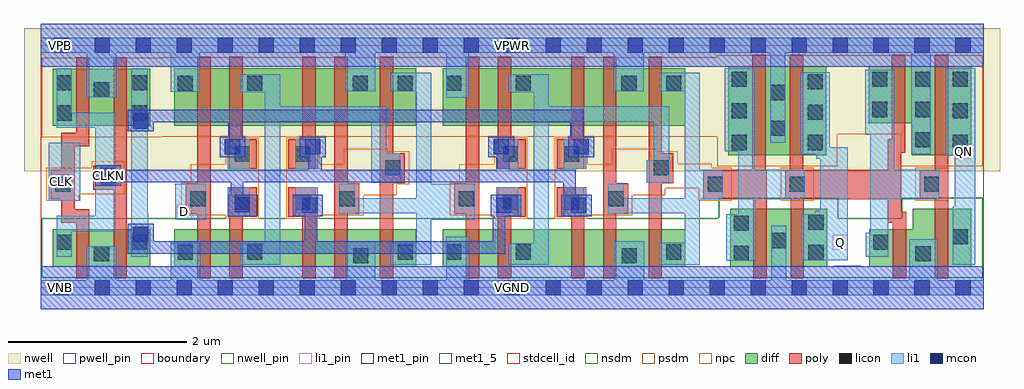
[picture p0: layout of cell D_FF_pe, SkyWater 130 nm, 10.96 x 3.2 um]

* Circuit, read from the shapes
.subckt D_FF_pe CLK CLKN D Q QN VGND VNB VPB VPWR
XM1 VGND CLK CLKN VNB sky130_fd_pr__nfet_01v8 w=0.42 l=0.15
XM2 n1 CLKN VGND VNB sky130_fd_pr__nfet_01v8 w=0.42 l=0.15
XM3 n2 D VGND VNB sky130_fd_pr__nfet_01v8 w=0.42 l=0.15
XM4 n3 CLKN n2 VNB sky130_fd_pr__nfet_01v8 w=0.42 l=0.15
XM5 n4 n1 n3 VNB sky130_fd_pr__nfet_01v8 w=0.42 l=0.15
XM6 VGND n5 n4 VNB sky130_fd_pr__nfet_01v8 w=0.42 l=0.15
XM7 n5 n3 VGND VNB sky130_fd_pr__nfet_01v8 w=0.42 l=0.15
XM8 n6 n5 VGND VNB sky130_fd_pr__nfet_01v8 w=0.42 l=0.15
XM9 n7 n1 n6 VNB sky130_fd_pr__nfet_01v8 w=0.42 l=0.15
XM10 n8 CLKN n7 VNB sky130_fd_pr__nfet_01v8 w=0.42 l=0.15
XM11 VGND n9 n8 VNB sky130_fd_pr__nfet_01v8 w=0.42 l=0.15
XM12 n9 n7 VGND VNB sky130_fd_pr__nfet_01v8 w=0.42 l=0.15
XM13 VGND n9 n10 VNB sky130_fd_pr__nfet_01v8 w=0.65 l=0.15
XM14 Q n10 VGND VNB sky130_fd_pr__nfet_01v8 w=0.65 l=0.15
XM15 VGND n10 n11 VNB sky130_fd_pr__nfet_01v8 w=0.42 l=0.15
XM16 QN n11 VGND VNB sky130_fd_pr__nfet_01v8 w=0.65 l=0.15
XM17 VPWR CLK CLKN VPB sky130_fd_pr__pfet_01v8 w=0.64 l=0.15
XM18 n1 CLKN VPWR VPB sky130_fd_pr__pfet_01v8 w=0.64 l=0.15
XM19 n12 D VPWR VPB sky130_fd_pr__pfet_01v8 w=0.64 l=0.15
XM20 n3 n1 n12 VPB sky130_fd_pr__pfet_01v8 w=0.64 l=0.15
XM21 n13 CLKN n3 VPB sky130_fd_pr__pfet_01v8 w=0.64 l=0.15
XM22 VPWR n5 n13 VPB sky130_fd_pr__pfet_01v8 w=0.64 l=0.15
XM23 n5 n3 VPWR VPB sky130_fd_pr__pfet_01v8 w=0.64 l=0.15
XM24 n14 n5 VPWR VPB sky130_fd_pr__pfet_01v8 w=0.64 l=0.15
XM25 n7 CLKN n14 VPB sky130_fd_pr__pfet_01v8 w=0.64 l=0.15
XM26 n15 n1 n7 VPB sky130_fd_pr__pfet_01v8 w=0.64 l=0.15
XM27 VPWR n9 n15 VPB sky130_fd_pr__pfet_01v8 w=0.64 l=0.15
XM28 n9 n7 VPWR VPB sky130_fd_pr__pfet_01v8 w=0.64 l=0.15
XM29 VPWR n9 n10 VPB sky130_fd_pr__pfet_01v8 w=1 l=0.15
XM30 Q n10 VPWR VPB sky130_fd_pr__pfet_01v8 w=1 l=0.15
XM31 VPWR n10 n11 VPB sky130_fd_pr__pfet_01v8 w=0.64 l=0.15
XM32 QN n11 VPWR VPB sky130_fd_pr__pfet_01v8 w=1 l=0.15
.ends

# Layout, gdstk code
import gdstk
lib = gdstk.Library(unit=1e-6, precision=1e-09)
def R(c, l, rs):  # rectangles x0, y0, x1, y1
    for r in rs: c.add(gdstk.rectangle(r[:2], r[2:], *l))
def A(c, l, x, y, w, h, nx, ny, dx, dy):  # array of equal rectangles
    R(c, l, [(x+i*dx, y+j*dy, x+i*dx+w, y+j*dy+h) for i in range(nx) for j in range(ny)])
nwell_pin = (64, 16)
nwell = (64, 20)
diff = (65, 20)
poly = (66, 20)
licon = (66, 44)
li1_pin = (67, 16)
li1 = (67, 20)
mcon = (67, 44)
met1_5 = (68, 5)
met1_pin = (68, 16)
met1 = (68, 20)
stdcell_id = (81, 4)
nsdm = (93, 44)
psdm = (94, 20)
npc = (95, 20)
pwell_pin = (122, 16)
boundary = (235, 4)

d_ff_pe = lib.new_cell('D_FF_pe')
R(d_ff_pe, nwell_pin, [(0.14,2.635,0.31,2.805)])
R(d_ff_pe, nwell, [(-0.19,1.305,10.765,2.91)])
R(d_ff_pe, diff, [(0.135,0.235,1.225,0.655), (1.495,0.235,4.215,0.655), (4.51,0.235,7.23,0.655), (7.735,0.235,8.825,0.885), (9.3,0.235,10.445,0.655), (9.785,0.655,10.445,0.885), (7.715,1.485,8.815,2.485), (9.775,1.485,10.445,1.845), (0.135,1.815,1.225,2.455), (1.495,1.82,4.215,2.46), (4.51,1.82,7.23,2.46), (9.29,1.845,10.445,2.485)])
R(d_ff_pe, poly, [(0.395,0.105,0.545,0.73), (0.815,0.105,0.965,1.1), (1.755,0.105,1.905,0.83), (2.115,0.105,2.265,0.795), (2.935,0.105,3.085,0.795), (3.295,0.105,3.445,0.83), (3.805,0.105,3.955,1.17), (4.77,0.105,4.92,0.83), (5.13,0.105,5.28,0.795), (5.95,0.105,6.1,0.795), (6.31,0.105,6.46,0.83), (6.82,0.105,6.97,1.17), (7.995,0.105,8.145,0.995), (8.415,0.105,8.565,0.995), (9.56,0.105,9.71,0.73), (10.035,0.105,10.185,0.995), (0.23,0.73,0.545,0.88), (9.505,0.73,9.71,0.85), (2.115,0.795,2.425,1.125), (2.775,0.795,3.085,1.125), (5.13,0.795,5.44,1.125), (5.79,0.795,6.1,1.125), (1.625,0.83,1.905,1.17), (3.295,0.83,3.575,1.17), (4.64,0.83,4.92,1.17), (6.31,0.83,6.59,1.17), (9.505,0.85,9.655,0.995), (0.23,0.88,0.38,0.995), (0.11,0.995,0.38,1.325), (7.435,0.995,8.145,1.325), (8.355,0.995,9.655,1.325), (9.865,0.995,10.185,1.325), (0.59,1.1,0.965,1.37), (1.755,1.17,1.905,2.59), (3.295,1.17,3.445,2.59), (3.805,1.17,4.085,1.51), (4.77,1.17,4.92,2.59), (6.31,1.17,6.46,2.59), (6.82,1.17,7.1,1.51), (0.23,1.325,0.38,1.59), (7.985,1.325,8.135,2.615), (8.405,1.325,8.555,2.615), (9.505,1.325,9.655,1.515), (10.035,1.325,10.185,2.615), (2.115,1.335,2.425,1.665), (2.775,1.335,3.085,1.665), (5.13,1.335,5.44,1.665), (5.79,1.335,6.1,1.665), (0.815,1.37,0.965,2.585), (3.805,1.51,3.955,2.59), (6.82,1.51,6.97,2.59), (9.505,1.515,9.7,1.665), (0.23,1.59,0.545,1.74), (2.115,1.665,2.265,2.59), (2.935,1.665,3.085,2.59), (5.13,1.665,5.28,2.59), (5.95,1.665,6.1,2.59), (9.55,1.665,9.7,2.615), (0.395,1.74,0.545,2.585)])
A(d_ff_pe, licon, 7.755, 1.545, 0.17, 0.17, 1, 3, 0, 0.355)
A(d_ff_pe, licon, 8.605, 1.545, 0.17, 0.17, 1, 3, 0, 0.34)
A(d_ff_pe, licon, 10.235, 1.545, 0.17, 0.17, 1, 3, 0, 0.355)
A(d_ff_pe, licon, 9.815, 1.575, 0.17, 0.17, 1, 3, 0, 0.34)
R(d_ff_pe, licon, [(3.505,0.275,3.675,0.445), (6.52,0.275,6.69,0.445), (0.595,0.295,0.765,0.465), (9.815,0.295,9.985,0.465), (7.775,0.3,7.945,0.47), (8.615,0.31,8.785,0.48), (1.535,0.315,1.705,0.485), (2.315,0.315,2.485,0.485), (4.005,0.315,4.175,0.485), (4.55,0.315,4.72,0.485), (5.33,0.315,5.5,0.485), (7.02,0.315,7.19,0.485), (0.175,0.425,0.345,0.595), (1.015,0.425,1.185,0.595), (9.34,0.425,9.51,0.595), (8.195,0.445,8.365,0.615), (10.235,0.485,10.405,0.655), (7.775,0.64,7.945,0.81), (8.615,0.65,8.785,0.82), (2.175,0.875,2.345,1.045), (2.855,0.875,3.025,1.045), (5.19,0.875,5.36,1.045), (5.87,0.875,6.04,1.045), (1.675,0.915,1.845,1.085), (3.355,0.915,3.525,1.085), (4.69,0.915,4.86,1.085), (6.37,0.915,6.54,1.085), (0.16,1.075,0.33,1.245), (7.485,1.075,7.655,1.245), (8.405,1.075,8.575,1.245), (9.915,1.075,10.085,1.245), (0.67,1.15,0.84,1.32), (3.865,1.26,4.035,1.43), (6.88,1.26,7.05,1.43), (2.175,1.415,2.345,1.585), (2.855,1.415,3.025,1.585), (5.19,1.415,5.36,1.585), (5.87,1.415,6.04,1.585), (8.185,1.705,8.355,1.875), (0.175,1.875,0.345,2.045), (1.015,1.875,1.185,2.045), (9.33,1.915,9.5,2.085), (8.185,2.105,8.355,2.275), (0.595,2.135,0.765,2.305), (1.535,2.21,1.705,2.38), (2.315,2.21,2.485,2.38), (3.5,2.21,3.67,2.38), (4.005,2.21,4.175,2.38), (4.55,2.21,4.72,2.38), (5.33,2.21,5.5,2.38), (6.515,2.21,6.685,2.38), (7.02,2.21,7.19,2.38), (0.175,2.215,0.345,2.385), (1.015,2.215,1.185,2.385), (9.33,2.255,9.5,2.425)])
R(d_ff_pe, li1_pin, [(8.885,0.425,9.055,0.595), (1.525,0.765,1.695,0.935), (0.145,1.105,0.315,1.275), (10.265,1.445,10.435,1.615)])
R(d_ff_pe, li1, [(0,-0.085,10.58,0.085), (0.515,0.085,0.845,0.465), (1.455,0.085,1.79,0.505), (3.42,0.085,3.755,0.52), (4.55,0.085,4.805,0.57), (6.435,0.085,6.77,0.52), (8.195,0.085,8.365,0.695), (9.745,0.085,10.065,0.545), (2.235,0.255,2.685,0.5), (3.925,0.255,4.38,0.505), (5.25,0.255,5.7,0.5), (6.94,0.255,7.395,0.505), (10.235,0.255,10.49,0.91), (7.695,0.3,8.025,0.825), (8.535,0.305,9.055,0.825), (0.175,0.345,0.345,0.635), (1.015,0.345,1.2,0.515), (9.26,0.345,9.51,0.615), (2.515,0.5,2.685,1.865), (5.53,0.5,5.7,1.865), (4.21,0.505,4.38,0.76), (7.225,0.505,7.395,0.835), (1.015,0.515,1.205,0.835), (9.31,0.615,9.51,0.995), (0.175,0.635,0.84,0.805), (1.51,0.76,1.855,1.165), (4.21,0.76,4.87,0.835), (2.095,0.795,2.345,1.125), (2.855,0.795,3.105,1.125), (5.11,0.795,5.36,1.125), (5.87,0.795,6.12,1.125), (0.61,0.805,0.84,1.795), (7.825,0.825,8.025,0.995), (8.69,0.825,9.055,0.865), (3.345,0.83,3.525,0.835), (6.36,0.83,6.54,0.835), (1.015,0.835,1.2,1.755), (3.345,0.835,4.87,1.005), (6.36,0.835,7.395,0.995), (8.745,0.865,9.055,1.445), (10.255,0.91,10.49,1.48), (0.09,0.975,0.44,1.625), (6.36,0.995,7.655,1.005), (7.825,0.995,8.575,1.325), (9.31,0.995,10.085,1.325), (3.345,1.005,3.525,1.165), (4.21,1.005,4.87,1.165), (6.36,1.005,6.54,1.165), (7.225,1.005,7.655,1.325), (4.21,1.165,4.38,2.205), (3.705,1.18,4.04,1.43), (6.8,1.18,7.055,1.43), (7.225,1.325,7.395,2.205), (7.825,1.325,8.015,1.53), (9.31,1.325,9.58,1.715), (2.095,1.335,2.345,1.495), (2.855,1.335,3.105,1.495), (5.11,1.335,5.36,1.495), (5.87,1.335,6.12,1.495), (3.705,1.43,4.035,1.51), (6.88,1.43,7.05,1.865), (8.7,1.445,9.055,1.495), (10.155,1.48,10.49,2.465), (2.065,1.495,2.345,1.665), (2.855,1.495,3.135,1.665), (5.08,1.495,5.36,1.665), (5.87,1.495,6.15,1.665), (8.525,1.495,9.055,1.575), (9.77,1.495,9.985,2.635), (3.705,1.51,3.875,1.865), (7.675,1.53,8.015,2.465), (8.525,1.575,8.855,2.42), (8.185,1.625,8.355,2.635), (9.25,1.715,9.58,2.445), (1.015,1.755,1.205,1.965), (0.175,1.795,0.84,1.965), (2.515,1.865,3.875,2.035), (5.53,1.865,7.05,2.035), (0.175,1.965,0.345,2.465), (1.015,1.965,1.2,2.465), (2.515,2.035,2.685,2.195), (5.53,2.035,5.7,2.195), (4.55,2.13,4.8,2.635), (0.515,2.135,0.845,2.635), (2.235,2.195,2.685,2.395), (5.25,2.195,5.7,2.395), (1.455,2.2,1.785,2.635), (3.415,2.205,3.75,2.635), (3.925,2.205,4.38,2.41), (6.43,2.205,6.765,2.635), (6.94,2.205,7.395,2.41), (0,2.635,10.58,2.805)])
A(d_ff_pe, mcon, 0.145, -0.085, 0.17, 0.17, 23, 2, 0.46, 2.72)
R(d_ff_pe, mcon, [(1.035,0.515,1.205,0.685), (2.935,0.84,3.105,1.01), (5.11,0.84,5.28,1.01), (5.95,0.84,6.12,1.01), (2.175,0.845,2.345,1.015), (0.67,1.175,0.84,1.345), (2.065,1.495,2.235,1.665), (2.965,1.495,3.135,1.665), (5.08,1.495,5.25,1.665), (5.98,1.495,6.15,1.665), (1.035,1.785,1.205,1.955)])
R(d_ff_pe, met1_5, [(0.67,1.175,0.84,1.345)])
R(d_ff_pe, met1_pin, [(0,-0.24,10.58,0.24), (0.145,-0.085,0.315,0.085), (0,2.48,10.58,2.96), (0.145,2.635,0.315,2.805)])
R(d_ff_pe, met1, [(0,-0.24,10.58,0.24), (8.9,0.24,9.2,0.245), (0.975,0.38,5.21,0.52), (0.975,0.52,1.265,0.72), (2.96,0.52,3.1,0.8), (5.07,0.52,5.21,0.8), (2.095,0.8,2.435,1.045), (2.825,0.8,3.165,1.045), (5.05,0.8,5.39,1.045), (5.84,0.8,6.18,1.045), (2.13,1.045,2.27,1.185), (5.865,1.045,6.005,1.185), (0.61,1.145,0.9,1.185), (0.61,1.185,6.005,1.325), (0.61,1.325,0.9,1.375), (3,1.325,3.15,1.465), (5.115,1.325,5.255,1.465), (2.005,1.465,2.295,1.695), (2.905,1.465,3.195,1.695), (5.02,1.465,5.31,1.695), (5.92,1.465,6.21,1.695), (2.1,1.695,2.25,1.855), (5.94,1.695,6.09,1.855), (0.975,1.755,1.265,1.855), (0.975,1.855,6.09,1.995), (0,2.48,10.58,2.96)])
R(d_ff_pe, stdcell_id, [(0,0,10.58,2.72)])
R(d_ff_pe, nsdm, [(0.01,0.11,10.57,0.78), (7.61,0.78,8.95,1.01), (9.66,0.78,10.57,1.01)])
R(d_ff_pe, psdm, [(7.59,1.36,8.94,1.695), (9.65,1.36,10.57,1.72), (0.01,1.69,1.35,1.695), (0.01,1.695,8.94,1.72), (0.01,1.72,10.57,2.58), (1.37,2.58,10.57,2.585), (7.59,2.585,10.57,2.61)])
R(d_ff_pe, npc, [(2.075,0.775,2.445,0.815), (2.755,0.775,3.125,0.815), (5.09,0.775,5.46,0.815), (5.77,0.775,6.14,0.815), (1.575,0.815,2.445,1.185), (2.755,0.815,3.625,1.035), (4.59,0.815,5.46,1.185), (5.77,0.815,6.64,1.035), (0.06,0.975,0.43,1.05), (7.385,0.975,7.755,1.115), (8.305,0.975,8.675,1.345), (9.815,0.975,10.185,1.345), (2.755,1.035,3.995,1.16), (5.77,1.035,7.01,1.115), (0.06,1.05,0.94,1.345), (5.77,1.115,7.755,1.345), (2.755,1.16,4.135,1.385), (1.68,1.185,2.445,1.385), (4.695,1.185,5.46,1.385), (0.57,1.345,0.94,1.42), (5.77,1.345,7.53,1.385), (2.075,1.385,2.445,1.685), (2.755,1.385,3.125,1.685), (3.4,1.385,4.135,1.53), (5.09,1.385,5.46,1.685), (5.77,1.385,6.14,1.685), (6.415,1.385,7.53,1.39), (6.415,1.39,7.15,1.53), (3.4,1.53,3.885,1.56), (6.415,1.53,6.9,1.56)])
R(d_ff_pe, pwell_pin, [(0.14,-0.085,0.31,0.085)])
R(d_ff_pe, boundary, [(0,0,10.58,2.72)])
d_ff_pe.add(gdstk.Label('CLKN', (0.755,1.26), layer=68, texttype=5))
d_ff_pe.add(gdstk.Label('CLK', (0.23,1.19), layer=67, texttype=5))
d_ff_pe.add(gdstk.Label('VNB', (0.225,0), layer=64, texttype=59))
d_ff_pe.add(gdstk.Label('VPB', (0.225,2.72), layer=64, texttype=5))
d_ff_pe.add(gdstk.Label('VPWR', (0.23,2.72), layer=68, texttype=5))
d_ff_pe.add(gdstk.Label('VPWR', (5.29,2.72), layer=68, texttype=5))
d_ff_pe.add(gdstk.Label('VGND', (0.23,0), layer=68, texttype=5))
d_ff_pe.add(gdstk.Label('VGND', (5.29,0), layer=68, texttype=5))
d_ff_pe.add(gdstk.Label('D', (1.61,0.85), layer=67, texttype=5))
d_ff_pe.add(gdstk.Label('Q', (8.97,0.51), layer=67, texttype=5))
d_ff_pe.add(gdstk.Label('QN', (10.35,1.53), layer=67, texttype=5))

lib.write_gds('D_FF_pe.gds')
